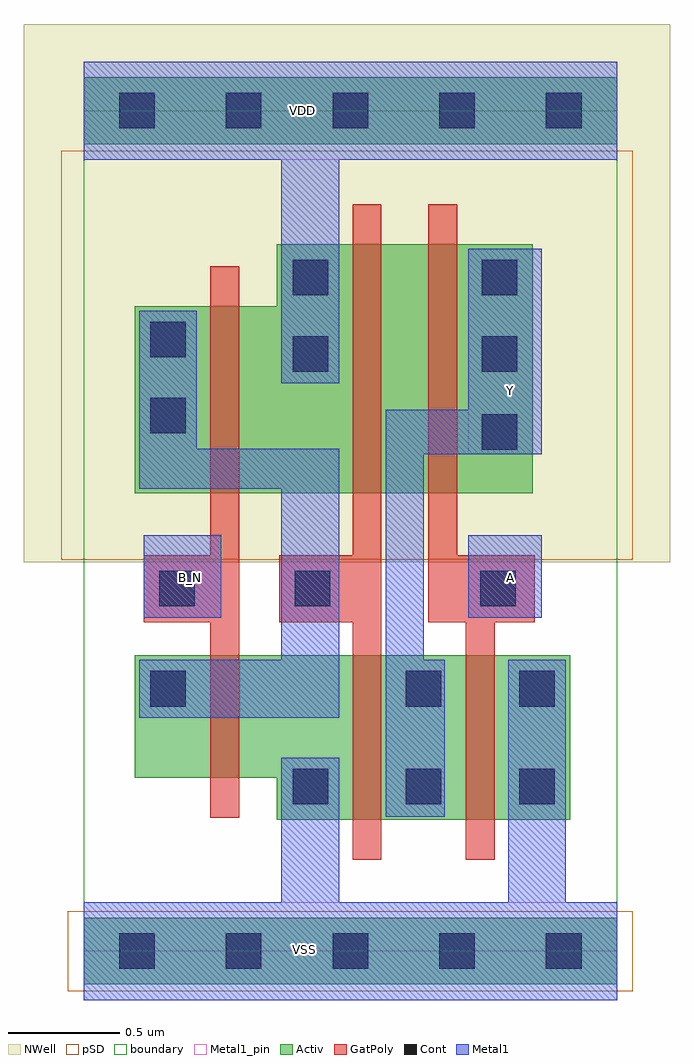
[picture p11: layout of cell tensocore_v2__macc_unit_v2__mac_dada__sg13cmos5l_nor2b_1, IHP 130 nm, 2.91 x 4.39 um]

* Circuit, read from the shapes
.subckt tensocore_v2__macc_unit_v2__mac_dada__sg13cmos5l_nor2b_1 A B_N VDD VSS Y
XM1 VSS B_N n1 VSS sg13_lv_nmos w=0.55u l=0.13u
XM2 Y n1 VSS VSS sg13_lv_nmos w=0.74u l=0.13u
XM3 VSS A Y VSS sg13_lv_nmos w=0.74u l=0.13u
XM4 VDD B_N n1 VDD sg13_lv_pmos w=0.84u l=0.13u
XM5 n2 n1 VDD VDD sg13_lv_pmos w=1.12u l=0.13u
XM6 Y A n2 VDD sg13_lv_pmos w=1.12u l=0.13u
.ends

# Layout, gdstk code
import gdstk
lib = gdstk.Library(unit=1e-6, precision=1e-09)
def R(c, l, rs):  # rectangles x0, y0, x1, y1
    for r in rs: c.add(gdstk.rectangle(r[:2], r[2:], *l))
def A(c, l, x, y, w, h, nx, ny, dx, dy):  # array of equal rectangles
    R(c, l, [(x+i*dx, y+j*dy, x+i*dx+w, y+j*dy+h) for i in range(nx) for j in range(ny)])
def P(c, l, *ps):  # polygons
    for p in ps: c.add(gdstk.Polygon(p, *l))
Activ = (1, 0)
GatPoly = (5, 0)
Cont = (6, 0)
Metal1 = (8, 0)
Metal1_pin = (8, 2)
pSD = (14, 0)
NWell = (31, 0)
boundary = (189, 4)

tensocore_v2__macc_unit_ = lib.new_cell('tensocore_v2__macc_unit_v2__mac_dada__sg13cmos5l_nor2b_1')
R(tensocore_v2__macc_unit_, Activ, [(0,-0.15,2.4,0.15), (0,3.63,2.4,3.93)])
P(tensocore_v2__macc_unit_, Activ, [(0.23,2.06),(0.23,2.9),(0.87,2.9),(0.87,3.18),(2.02,3.18),(2.02,2.06)],
  [(0.87,0.59),(0.87,0.78),(0.23,0.78),(0.23,1.33),(2.19,1.33),(2.19,0.59)])
P(tensocore_v2__macc_unit_, GatPoly, [(1.72,0.41),(1.72,1.48),(1.55,1.48),(1.55,3.36),(1.68,3.36),(1.68,1.78),(2.03,1.78),(2.03,1.48),(1.85,1.48),(1.85,0.41)],
  [(1.21,0.41),(1.21,1.48),(0.88,1.48),(0.88,1.78),(1.21,1.78),(1.21,3.36),(1.34,3.36),(1.34,0.41)],
  [(0.57,0.6),(0.57,1.48),(0.27,1.48),(0.27,1.78),(0.57,1.78),(0.57,3.08),(0.7,3.08),(0.7,0.6)])
A(tensocore_v2__macc_unit_, Cont, 0.16, -0.08, 0.16, 0.16, 5, 2, 0.48, 3.78)
A(tensocore_v2__macc_unit_, Cont, 0.94, 0.66, 0.16, 0.16, 3, 1, 0.51, 0)
R(tensocore_v2__macc_unit_, Cont, [(0.3,1.1,0.46,1.26), (1.45,1.1,1.61,1.26), (1.96,1.1,2.12,1.26), (0.34,1.55,0.5,1.71), (0.95,1.55,1.11,1.71), (1.785,1.55,1.945,1.71), (1.79,2.255,1.95,2.415), (0.3,2.33,0.46,2.49), (0.94,2.605,1.1,2.765), (1.79,2.605,1.95,2.765), (0.3,2.67,0.46,2.83), (0.94,2.95,1.1,3.11), (1.79,2.95,1.95,3.11)])
R(tensocore_v2__macc_unit_, Metal1, [(0.27,1.5,0.62,1.87), (1.73,1.5,2.06,1.87)])
P(tensocore_v2__macc_unit_, Metal1, [(0.89,2.555),(0.89,3.56),(0,3.56),(0,4),(2.4,4),(2.4,3.56),(1.15,3.56),(1.15,2.555)],
  [(0,-0.22),(0,0.22),(0.89,0.22),(0.89,0.87),(1.15,0.87),(1.15,0.22),(1.91,0.22),(1.91,1.31),(2.17,1.31),(2.17,0.22),(2.4,0.22),(2.4,-0.22)],
  [(0.25,1.05),(0.25,1.31),(0.89,1.31),(0.89,2.08),(0.25,2.08),(0.25,2.88),(0.51,2.88),(0.51,2.26),(1.15,2.26),(1.15,1.05)],
  [(1.36,0.605),(1.36,2.435),(1.73,2.435),(1.73,3.16),(2.06,3.16),(2.06,2.235),(1.53,2.235),(1.53,1.31),(1.625,1.31),(1.625,0.605)])
R(tensocore_v2__macc_unit_, Metal1_pin, [(0,-0.22,2.4,0.22), (0.27,1.5,0.62,1.87), (1.73,1.5,2.06,1.87), (1.73,2.235,2.06,3.16), (0,3.56,2.4,4)])
R(tensocore_v2__macc_unit_, pSD, [(-0.07,-0.18,2.47,0.18), (-0.1,1.76,2.47,3.6)])
R(tensocore_v2__macc_unit_, NWell, [(-0.27,1.75,2.64,4.17)])
R(tensocore_v2__macc_unit_, boundary, [(0,0,2.4,3.78)])
tensocore_v2__macc_unit_.add(gdstk.Label('VSS', (0.995,0.005), layer=8, texttype=25))
tensocore_v2__macc_unit_.add(gdstk.Label('Y', (1.92,2.52), layer=8, texttype=25))
tensocore_v2__macc_unit_.add(gdstk.Label('VDD', (0.985,3.78), layer=8, texttype=25))
tensocore_v2__macc_unit_.add(gdstk.Label('B_N', (0.48,1.68), layer=8, texttype=25))
tensocore_v2__macc_unit_.add(gdstk.Label('A', (1.92,1.68), layer=8, texttype=25))

lib.write_gds('tensocore_v2__macc_unit_v2__mac_dada__sg13cmos5l_nor2b_1.gds')
